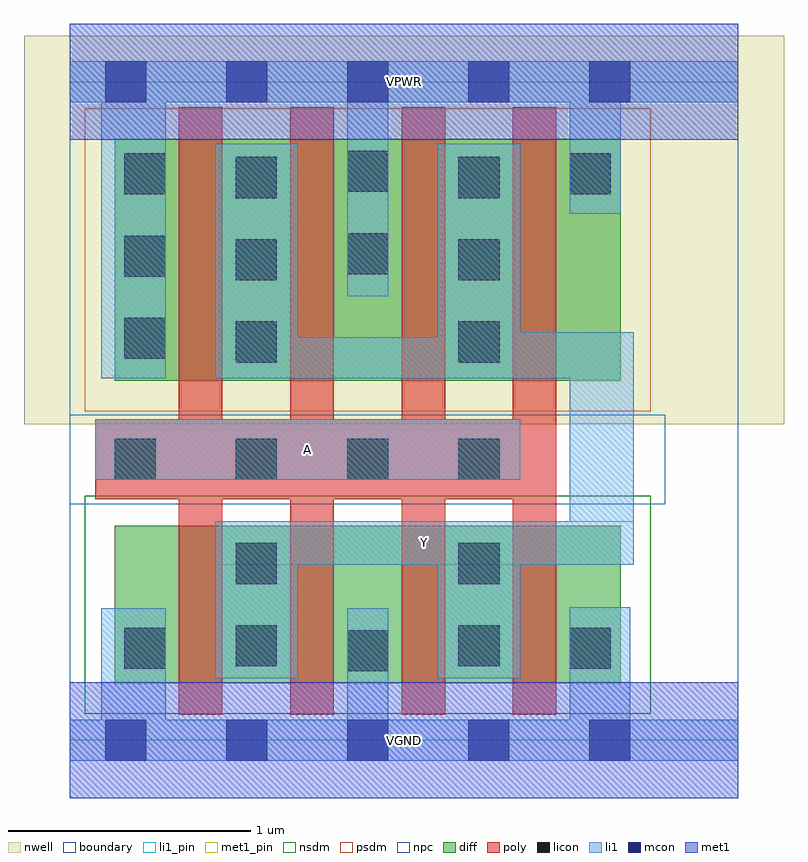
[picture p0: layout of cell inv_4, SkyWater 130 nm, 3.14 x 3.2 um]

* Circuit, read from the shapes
.subckt inv_4 A VGND VPWR Y
XM1 Y A VGND VSUBS sky130_fd_pr__nfet_01v8 w=0.65 l=0.18 m=4
XM2 Y A VPWR n1 sky130_fd_pr__pfet_01v8 w=1 l=0.18 m=4
.ends

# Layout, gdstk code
import gdstk
lib = gdstk.Library(unit=1e-6, precision=1e-09)
def R(c, l, rs):  # rectangles x0, y0, x1, y1
    for r in rs: c.add(gdstk.rectangle(r[:2], r[2:], *l))
def A(c, l, x, y, w, h, nx, ny, dx, dy):  # array of equal rectangles
    R(c, l, [(x+i*dx, y+j*dy, x+i*dx+w, y+j*dy+h) for i in range(nx) for j in range(ny)])
nwell = (64, 20)
diff = (65, 20)
poly = (66, 20)
licon = (66, 44)
li1_pin = (67, 16)
li1 = (67, 20)
mcon = (67, 44)
met1_pin = (68, 16)
met1 = (68, 20)
nsdm = (93, 44)
psdm = (94, 20)
npc = (95, 20)
boundary = (235, 4)

inv_4 = lib.new_cell('inv_4')
R(inv_4, nwell, [(-0.19,1.305,2.95,2.91), (0,1.305,2.76,2.91)])
R(inv_4, diff, [(0.185,0.235,2.275,0.885), (0.185,1.485,2.275,2.485)])
A(inv_4, poly, 0.45, 0.105, 0.18, 2.51, 4, 1, 0.46, 0)
R(inv_4, poly, [(0.105,0.995,2.01,1.325)])
A(inv_4, licon, 0.685, 1.075, 0.17, 0.17, 3, 1, 0.46, 0)
A(inv_4, licon, 0.685, 1.56, 0.17, 0.17, 1, 3, 0, 0.34)
A(inv_4, licon, 1.605, 1.56, 0.17, 0.17, 1, 3, 0, 0.34)
A(inv_4, licon, 0.225, 1.575, 0.17, 0.17, 1, 3, 0, 0.34)
R(inv_4, licon, [(1.145,0.285,1.315,0.455), (0.225,0.295,0.395,0.465), (2.065,0.295,2.235,0.465), (0.685,0.305,0.855,0.475), (1.605,0.305,1.775,0.475), (0.685,0.645,0.855,0.815), (1.605,0.645,1.775,0.815), (0.185,1.075,0.355,1.245), (1.145,1.925,1.315,2.095), (2.065,2.255,2.235,2.425), (1.145,2.265,1.315,2.435)])
R(inv_4, li1_pin, [(0.6,0.725,2.33,0.905), (0.105,1.075,1.86,1.325)])
R(inv_4, li1, [(0,-0.085,2.76,0.085), (0.13,-0.085,0.395,0.545), (1.145,-0.085,1.315,0.545), (2.065,-0.085,2.315,0.55), (0.6,0.255,0.94,0.905), (1.52,0.255,1.86,0.905), (0.6,0.725,2.33,0.905), (2.065,0.725,2.33,1.685), (0.105,1.075,1.86,1.325), (0.13,1.495,0.395,2.805), (0.6,1.495,0.94,2.465), (0.6,1.495,2.33,1.665), (1.52,1.495,1.86,2.465), (1.52,1.495,2.33,1.685), (1.145,1.835,1.315,2.805), (2.065,2.175,2.275,2.805), (0,2.635,2.76,2.805)])
A(inv_4, mcon, 0.145, -0.085, 0.17, 0.17, 5, 2, 0.5, 2.72)
R(inv_4, met1_pin, [(0,-0.24,2.76,0.24), (0,2.48,2.76,2.96)])
R(inv_4, met1, [(0,-0.24,2.76,0.24), (0,2.48,2.76,2.96)])
R(inv_4, nsdm, [(0.06,0.11,2.4,1.01)])
R(inv_4, psdm, [(0.06,1.36,2.4,2.61)])
R(inv_4, npc, [(0,0.975,2.46,1.345)])
R(inv_4, boundary, [(0,0,2.76,2.72)])
inv_4.add(gdstk.Label('A', (0.982,1.2), layer=67, texttype=5))
inv_4.add(gdstk.Label('Y', (1.465,0.815), layer=67, texttype=5))
inv_4.add(gdstk.Label('VPWR', (1.38,2.72), layer=68, texttype=5))
inv_4.add(gdstk.Label('VGND', (1.38,0), layer=68, texttype=5))
inv_4.add(gdstk.Label('A', (0.982,1.2), layer=67, texttype=16))
inv_4.add(gdstk.Label('Y', (1.465,0.815), layer=67, texttype=16))
inv_4.add(gdstk.Label('VPWR', (1.38,2.72), layer=68, texttype=16))
inv_4.add(gdstk.Label('VGND', (1.38,0), layer=68, texttype=16))

lib.write_gds('inv_4.gds')
